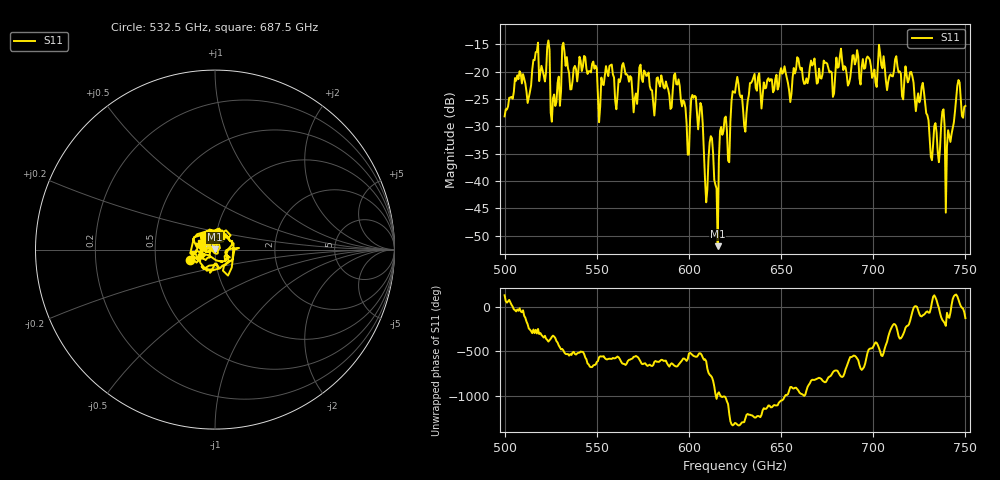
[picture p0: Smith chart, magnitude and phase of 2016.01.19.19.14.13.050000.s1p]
!Created with skrf (http://scikit-rf.org).
# GHz S RI R 50.0
!freq ReS11 ImS11
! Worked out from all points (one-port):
!   401 points, 500 GHz to 750 GHz, reference 50 ohm
!   lowest |S11| = -51.9 dB at 615.6 GHz (marker M1), VSWR 1.01, Z = 49.9 + j0.248 ohm
!   |S11| at or under -10 dB: start of sweep to end of sweep
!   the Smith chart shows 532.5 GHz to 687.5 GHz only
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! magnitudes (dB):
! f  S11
! 500 GHz  -28.2
! 506.9 GHz  -20.7
! 513.1 GHz  -24.7
! 516.9 GHz  -16.4
! 523.1 GHz  -15.5
! 526.2 GHz  -24.9
! 531.2 GHz  -15.4
! 562.5 GHz  -21.9
! 593.8 GHz  -22.4
! 599.4 GHz  -35.2
! 602.5 GHz  -24.8
! 609.4 GHz  -43.9
! 611.9 GHz  -31.8
! 615.6 GHz  -51.9
! 618.1 GHz  -31.6
! 621.9 GHz  -36.6
! 625 GHz  -23.9
! 630.6 GHz  -31.0
! 634.4 GHz  -21.7
! 656.2 GHz  -21.1
! 687.5 GHz  -21.2
! 718.8 GHz  -22.0
! 727.5 GHz  -23.7
! 731.9 GHz  -36.2
! 737.5 GHz  -27.3
! 740.6 GHz  -30.7
! 746.2 GHz  -21.5
! 750 GHz  -26.3
